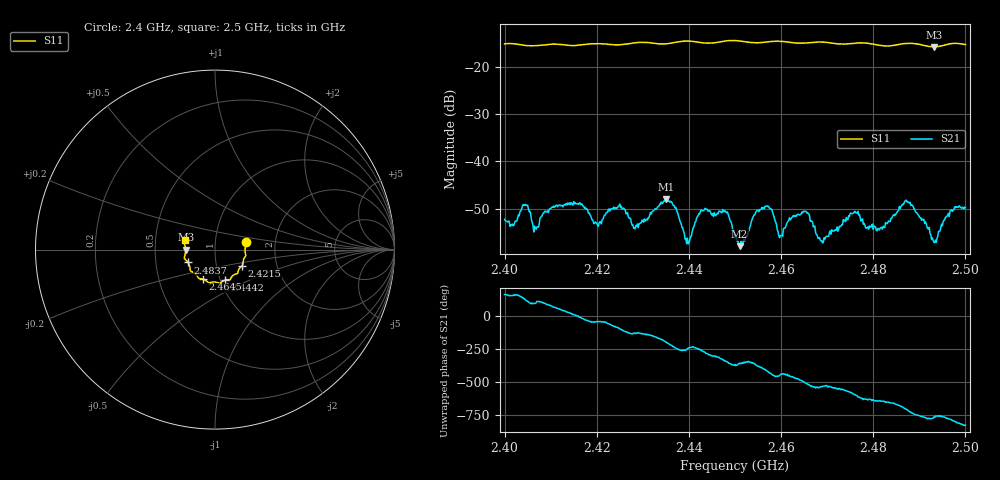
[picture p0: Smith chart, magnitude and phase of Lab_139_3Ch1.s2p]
# Hz S RI R 50
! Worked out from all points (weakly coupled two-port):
!   601 points, 2.4 GHz to 2.5 GHz, reference 50 ohm
!   highest |S21| = -47.97 dB at 2.435 GHz (marker M1); lowest = -57.9 dB at 2.451 GHz (marker M2)
!   lowest |S11| = -15.7 dB at 2.4932 GHz (marker M3), VSWR 1.39, Z = 36 - j0.043 ohm
!   |S11| at or under -10 dB: start of sweep to end of sweep
!   S12 and S22 are empty: the file has one direction only
!   S11 on the Smith chart (normalised r, x): 2.4 GHz: 1.41, +0.12; 2.4215 GHz: 1.33, -0.25; 2.4442 GHz: 1.05, -0.37; 2.4645 GHz: 0.83, -0.29; 2.4837 GHz: 0.73, -0.11; 2.5 GHz: 0.71, +0.07
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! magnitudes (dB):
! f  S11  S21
! 2.4 GHz  -15.1  -52.3
! 2.4167 GHz  -15.3  -49.0
! 2.4215 GHz  -15.1  -51.8
! 2.4252 GHz  -15.3  -49.7
! 2.4285 GHz  -14.9  -53.6
! 2.4333 GHz  -15.1  -49.6
! 2.435 GHz  -15.1  -48.0
! 2.4397 GHz  -14.5  -56.2
! 2.4442 GHz  -15.0  -50.6
! 2.45 GHz  -14.4  -56.1
! 2.451 GHz  -14.5  -57.9
! 2.4563 GHz  -14.8  -50.0
! 2.4598 GHz  -14.6  -55.7
! 2.4645 GHz  -15.0  -50.8
! 2.4667 GHz  -14.8  -52.7
! 2.469 GHz  -14.7  -57.2
! 2.4755 GHz  -15.0  -51.1
! 2.4833 GHz  -15.6  -52.6
! 2.4837 GHz  -15.5  -52.8
! 2.4875 GHz  -15.0  -48.7
! 2.4932 GHz  -15.7  -57.1
! 2.5 GHz  -15.3  -49.8
